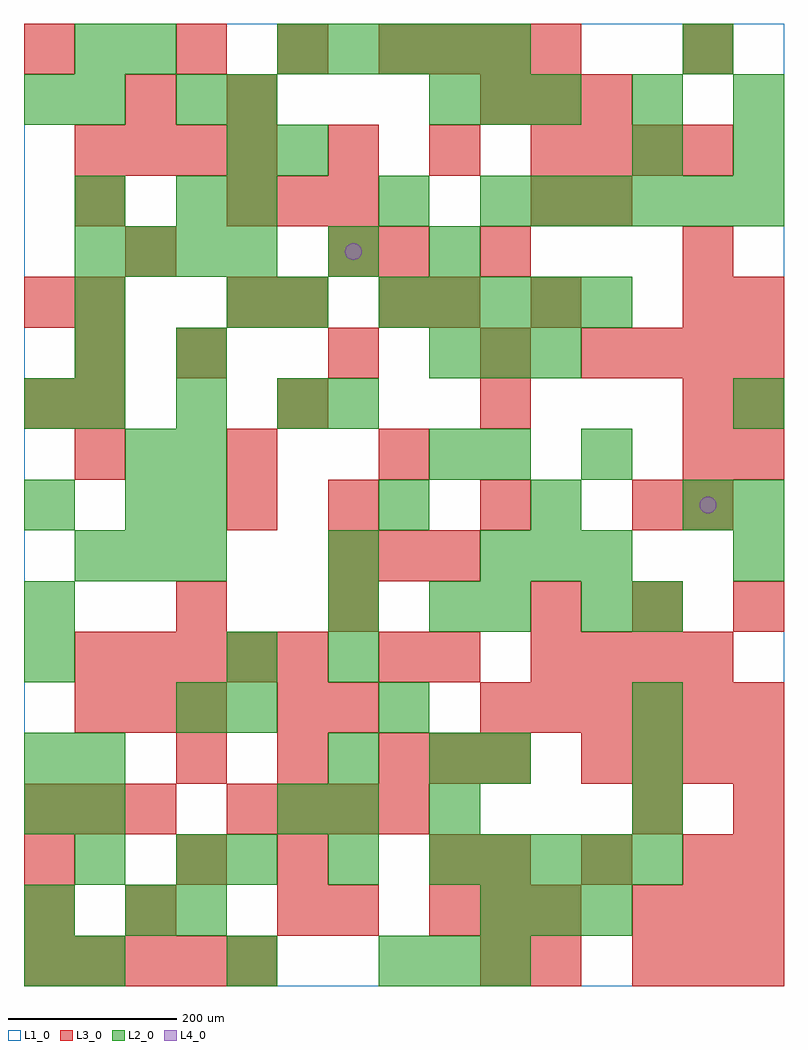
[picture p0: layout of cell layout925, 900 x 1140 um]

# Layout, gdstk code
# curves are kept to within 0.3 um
import gdstk
lib = gdstk.Library(unit=1e-6, precision=1e-09)
def R(c, l, rs):  # rectangles x0, y0, x1, y1
    for r in rs: c.add(gdstk.rectangle(r[:2], r[2:], *l))
def A(c, l, x, y, w, h, nx, ny, dx, dy):  # array of equal rectangles
    R(c, l, [(x+i*dx, y+j*dy, x+i*dx+w, y+j*dy+h) for i in range(nx) for j in range(ny)])
def P(c, l, *ps):  # polygons
    for p in ps: c.add(gdstk.Polygon(p, *l))
L1_0 = (1, 0)
L2_0 = (2, 0)
L3_0 = (3, 0)
L4_0 = (4, 0)

layout925 = lib.new_cell('layout925')
R(layout925, L1_0, [(0,0,900,1140)])
A(layout925, L2_0, 60, 0, 60, 60, 3, 1, 180, 0)
A(layout925, L2_0, 540, 60, 60, 60, 3, 2, 60, 420)
A(layout925, L2_0, 60, 120, 60, 60, 1, 3, 0, 60)
A(layout925, L2_0, 240, 120, 60, 60, 3, 1, 120, 0)
A(layout925, L2_0, 540, 120, 60, 60, 4, 1, 60, 0)
A(layout925, L2_0, 720, 180, 60, 60, 1, 3, 0, 60)
A(layout925, L2_0, 480, 240, 60, 60, 1, 3, 0, 180)
A(layout925, L2_0, 540, 240, 60, 60, 1, 3, 0, 180)
A(layout925, L2_0, 360, 360, 60, 60, 1, 3, 0, 60)
A(layout925, L2_0, 0, 420, 60, 60, 1, 3, 0, 120)
A(layout925, L2_0, 60, 480, 60, 60, 3, 1, 60, 0)
A(layout925, L2_0, 420, 540, 60, 60, 3, 1, 180, 0)
A(layout925, L2_0, 60, 660, 60, 60, 3, 1, 120, 0)
A(layout925, L2_0, 480, 720, 60, 60, 3, 2, 60, 300)
A(layout925, L2_0, 60, 780, 60, 60, 1, 3, 0, 120)
A(layout925, L2_0, 420, 780, 60, 60, 5, 1, 60, 0)
A(layout925, L2_0, 60, 840, 60, 60, 4, 1, 60, 0)
A(layout925, L2_0, 240, 900, 60, 60, 1, 3, 0, 60)
A(layout925, L2_0, 540, 900, 60, 60, 6, 1, 60, 0)
A(layout925, L2_0, 300, 1080, 60, 60, 5, 1, 60, 0)
R(layout925, L2_0, [(0,0,60,60), (480,0,540,60), (540,0,600,60), (0,60,60,120), (120,60,180,120), (180,60,240,120), (180,120,240,180), (0,180,60,240), (300,180,360,240), (360,180,420,240), (480,180,540,240), (0,240,60,300), (360,240,420,300), (180,300,240,360), (240,300,300,360), (420,300,480,360), (0,360,60,420), (240,360,300,420), (660,420,720,480), (720,420,780,480), (840,480,900,540), (120,540,180,600), (180,540,240,600), (840,540,900,600), (120,600,180,660), (180,600,240,660), (660,600,720,660), (360,660,420,720), (840,660,900,720), (60,720,120,780), (180,720,240,780), (240,780,300,840), (300,780,360,840), (360,840,420,900), (480,840,540,900), (180,900,240,960), (420,900,480,960), (300,960,360,1020), (720,960,780,1020), (840,960,900,1020), (0,1020,60,1080), (180,1020,240,1080), (720,1020,780,1080), (840,1020,900,1080), (60,1080,120,1140), (120,1080,180,1140), (780,1080,840,1140)])
A(layout925, L3_0, 0, 0, 60, 60, 5, 1, 60, 0)
A(layout925, L3_0, 720, 0, 60, 60, 3, 2, 60, 60)
A(layout925, L3_0, 480, 60, 60, 60, 3, 2, 60, 1020)
A(layout925, L3_0, 480, 120, 60, 60, 1, 3, 0, 120)
A(layout925, L3_0, 540, 120, 60, 60, 3, 1, 120, 0)
A(layout925, L3_0, 0, 180, 60, 60, 3, 1, 60, 0)
A(layout925, L3_0, 240, 180, 60, 60, 4, 1, 60, 0)
A(layout925, L3_0, 180, 240, 60, 60, 3, 2, 120, 840)
A(layout925, L3_0, 660, 240, 60, 60, 4, 2, 60, 480)
A(layout925, L3_0, 60, 300, 60, 60, 3, 1, 60, 0)
A(layout925, L3_0, 540, 300, 60, 60, 6, 1, 60, 0)
A(layout925, L3_0, 60, 360, 60, 60, 5, 1, 60, 0)
A(layout925, L3_0, 600, 360, 60, 60, 4, 1, 60, 0)
A(layout925, L3_0, 600, 420, 60, 60, 3, 1, 120, 0)
A(layout925, L3_0, 360, 480, 60, 60, 3, 1, 60, 0)
A(layout925, L3_0, 240, 540, 60, 60, 1, 3, 0, 240)
A(layout925, L3_0, 360, 540, 60, 60, 3, 1, 180, 0)
A(layout925, L3_0, 60, 600, 60, 60, 3, 1, 180, 0)
A(layout925, L3_0, 60, 660, 60, 60, 4, 1, 240, 0)
A(layout925, L3_0, 180, 720, 60, 60, 3, 1, 180, 0)
A(layout925, L3_0, 240, 900, 60, 60, 3, 1, 60, 0)
A(layout925, L3_0, 60, 960, 60, 60, 4, 1, 60, 0)
A(layout925, L3_0, 360, 960, 60, 60, 3, 1, 120, 0)
A(layout925, L3_0, 660, 960, 60, 60, 3, 1, 60, 0)
A(layout925, L3_0, 540, 1020, 60, 60, 3, 1, 60, 0)
R(layout925, L3_0, [(540,0,600,60), (600,0,660,60), (0,60,60,120), (120,60,180,120), (300,60,360,120), (360,60,420,120), (0,120,60,180), (180,120,240,180), (300,120,360,180), (840,120,900,180), (720,180,780,240), (840,180,900,240), (540,240,600,300), (300,300,360,360), (360,300,420,360), (420,360,480,420), (180,420,240,480), (360,420,420,480), (780,540,840,600), (780,600,840,660), (840,600,900,660), (0,660,60,720), (840,660,900,720), (60,720,120,780), (0,780,60,840), (60,780,120,840), (300,780,360,840), (420,780,480,840), (480,780,540,840), (600,780,660,840), (780,780,840,840), (840,780,900,840), (120,840,180,900), (360,840,420,900), (420,840,480,900), (540,840,600,900), (780,840,840,900), (60,900,120,960), (600,900,660,960), (660,900,720,960), (120,1020,180,1080), (0,1080,60,1140), (780,1080,840,1140)])
P(layout925, L4_0, [(400,870),(399.239,873.827),(397.071,877.071),(393.827,879.239),(390,880),(386.173,879.239),(382.929,877.071),(380.761,873.827),(380,870),(380.761,866.173),(382.929,862.929),(386.173,860.761),(390,860),(393.827,860.761),(397.071,862.929),(399.239,866.173)],
  [(820,570),(819.239,573.827),(817.071,577.071),(813.827,579.239),(810,580),(806.173,579.239),(802.929,577.071),(800.761,573.827),(800,570),(800.761,566.173),(802.929,562.929),(806.173,560.761),(810,560),(813.827,560.761),(817.071,562.929),(819.239,566.173)])

lib.write_gds('layout925.gds')
